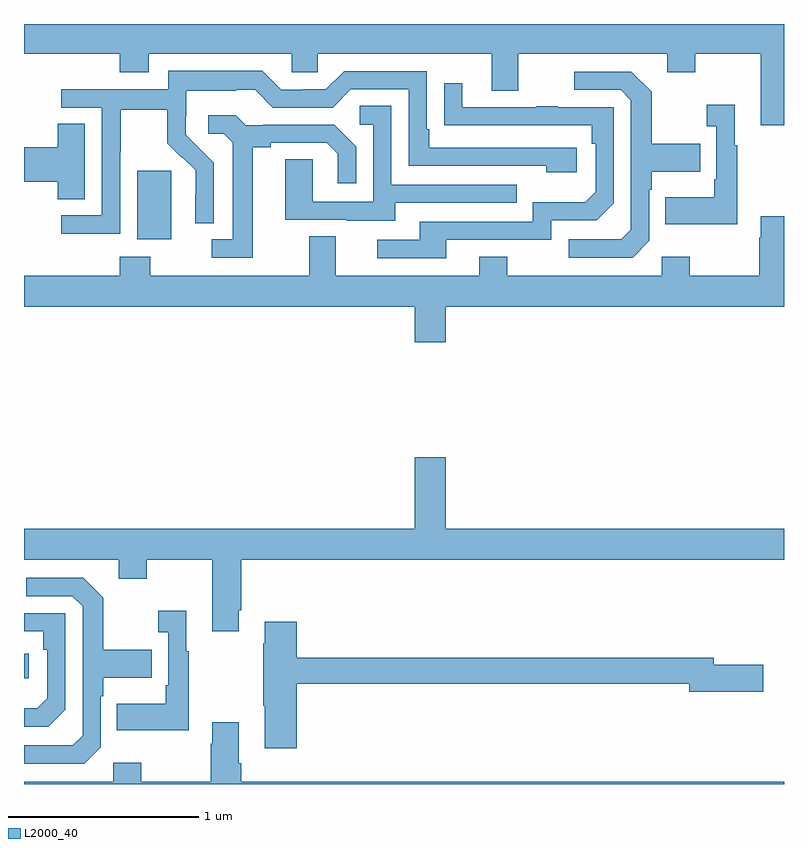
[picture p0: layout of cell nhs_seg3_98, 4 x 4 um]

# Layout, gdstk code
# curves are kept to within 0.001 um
import gdstk
lib = gdstk.Library(unit=1e-6, precision=1e-09)
def R(c, l, rs):  # rectangles x0, y0, x1, y1
    for r in rs: c.add(gdstk.rectangle(r[:2], r[2:], *l))
def P(c, l, *ps):  # polygons
    for p in ps: c.add(gdstk.Polygon(p, *l))
L2000_40 = (2000, 40)

nhs_seg3_98 = lib.new_cell('nhs_seg3_98')
R(nhs_seg3_98, L2000_40, [(115,702.956,115.024,703.086), (115.595,705.266,115.774,705.627)])
P(nhs_seg3_98, L2000_40, [(119,706.4),(115,706.4),(115,706.244),(115.505,706.244),(115.505,706.145),(115.657,706.145),(115.657,706.244),(116.409,706.244),(116.409,706.146),(116.547,706.146),(116.547,706.244),(117.461,706.244),(117.461,706.05),(117.601,706.05),(117.601,706.244),(118.385,706.244),(118.385,706.145),(118.533,706.145),(118.533,706.244),(118.877,706.244),(118.877,705.867),(119,705.867)],
  [(115.506,705.724),(115.509,705.724),(115.509,705.948),(115.753,705.948),(115.753,705.773),(115.83,705.696),(115.833,705.699),(115.904,705.629),(115.904,705.506),(115.902,705.506),(115.902,705.352),(115.998,705.352),(115.998,705.67),(115.852,705.818),(115.852,705.915),(115.854,705.915),(115.854,706.049),(116.117,706.049),(116.117,706.053),(116.217,706.053),(116.31,705.96),(116.625,705.96),(116.721,706.056),(117.024,706.056),(117.024,705.654),(117.749,705.654),(117.749,705.62),(117.91,705.62),(117.91,705.75),(117.133,705.75),(117.133,705.847),(117.12,705.847),(117.12,706.152),(116.685,706.152),(116.589,706.056),(116.471,706.056),(116.471,706.053),(116.355,706.053),(116.255,706.153),(115.758,706.153),(115.758,706.056),(115.197,706.056),(115.197,705.96),(115.41,705.96),(115.41,705.393),(115.197,705.393),(115.197,705.295),(115.506,705.295)],
  [(118.29,705.258),(118.29,705.527),(118.303,705.527),(118.303,705.623),(118.559,705.623),(118.559,705.771),(118.303,705.771),(118.303,706.043),(118.197,706.149),(117.897,706.149),(117.897,706.053),(118.14,706.053),(118.194,705.999),(118.194,705.318),(118.143,705.267),(117.867,705.267),(117.867,705.171),(118.203,705.171)],
  [(117.223,705.264),(117.774,705.264),(117.774,705.366),(118.014,705.366),(118.104,705.456),(118.104,705.963),(117.809,705.963),(117.809,705.968),(117.697,705.968),(117.697,705.963),(117.307,705.963),(117.307,706.087),(117.211,706.087),(117.211,705.868),(117.988,705.867),(117.988,705.77),(118.008,705.77),(118.008,705.516),(117.955,705.463),(117.678,705.463),(117.678,705.36),(117.083,705.36),(117.083,705.264),(116.859,705.264),(116.859,705.168),(117.223,705.168)],
  [(118.753,705.763),(118.741,705.763),(118.741,705.976),(118.593,705.976),(118.593,705.863),(118.644,705.863),(118.644,705.583),(118.632,705.583),(118.632,705.487),(118.375,705.487),(118.375,705.347),(118.753,705.347)],
  [(116.953,705.459),(117.593,705.459),(117.593,705.555),(116.934,705.555),(116.934,705.971),(116.766,705.971),(116.766,705.87),(116.838,705.87),(116.838,705.465),(116.52,705.465),(116.52,705.689),(116.375,705.689),(116.375,705.369),(116.699,705.369),(116.699,705.365),(116.953,705.365)],
  [(116.203,705.752),(116.299,705.752),(116.299,705.774),(116.594,705.774),(116.651,705.717),(116.651,705.561),(116.748,705.561),(116.748,705.754),(116.632,705.87),(116.26,705.87),(116.26,705.867),(116.166,705.867),(116.114,705.919),(115.971,705.919),(115.971,705.822),(116.052,705.822),(116.099,705.775),(116.099,705.267),(115.989,705.267),(115.989,705.171),(116.203,705.171)],
  [(115.321,705.875),(115.178,705.875),(115.178,705.752),(115,705.752),(115,705.569),(115.178,705.569),(115.178,705.478),(115.321,705.478)],
  [(117.22,704.912),(119,704.912),(119,705.388),(118.877,705.388),(118.877,705.275),(118.87,705.275),(118.87,705.076),(118.503,705.076),(118.503,705.175),(118.356,705.175),(118.356,705.076),(117.543,705.076),(117.543,705.175),(117.395,705.175),(117.395,705.076),(116.641,705.076),(116.641,705.284),(116.501,705.284),(116.501,705.076),(115.665,705.076),(115.665,705.175),(115.505,705.175),(115.505,705.076),(115,705.076),(115,704.912),(117.056,704.912),(117.056,704.724),(117.22,704.724)],
  [(116.131,703.315),(116.144,703.315),(116.144,703.58),(119,703.58),(119,703.744),(117.22,703.744),(117.22,704.119),(117.056,704.119),(117.056,703.744),(115,703.744),(115,703.58),(115.499,703.58),(115.499,703.481),(115.647,703.481),(115.647,703.58),(115.991,703.58),(115.991,703.203),(116.131,703.203)],
  [(115.404,702.594),(115.404,702.863),(115.417,702.863),(115.417,702.959),(115.673,702.959),(115.673,703.107),(115.417,703.107),(115.417,703.379),(115.311,703.485),(115.011,703.485),(115.011,703.389),(115.254,703.389),(115.308,703.335),(115.308,702.654),(115.257,702.603),(115,702.603),(115,702.507),(115.317,702.507)],
  [(115.867,703.099),(115.855,703.099),(115.855,703.312),(115.707,703.312),(115.707,703.199),(115.758,703.199),(115.758,702.919),(115.746,702.919),(115.746,702.823),(115.489,702.823),(115.489,702.683),(115.867,702.683)],
  [(115.218,702.792),(115.218,703.299),(115,703.299),(115,703.203),(115.102,703.203),(115.102,703.106),(115.122,703.106),(115.122,702.852),(115.069,702.799),(115,702.799),(115,702.702),(115.128,702.702)],
  [(116.435,702.928),(118.502,702.928),(118.502,702.886),(118.891,702.886),(118.891,703.028),(118.63,703.028),(118.63,703.064),(116.435,703.064),(116.435,703.255),(116.267,703.255),(116.267,703.142),(116.26,703.142),(116.26,702.811),(116.267,702.811),(116.267,702.588),(116.435,702.588)],
  [(119,702.412),(116.144,702.412),(116.144,702.508),(116.131,702.508),(116.131,702.724),(115.991,702.724),(115.991,702.611),(115.984,702.611),(115.984,702.412),(115.617,702.412),(115.617,702.511),(115.47,702.511),(115.47,702.412),(115,702.412),(115,702.4),(119,702.4)])

lib.write_gds('nhs_seg3_98.gds')
